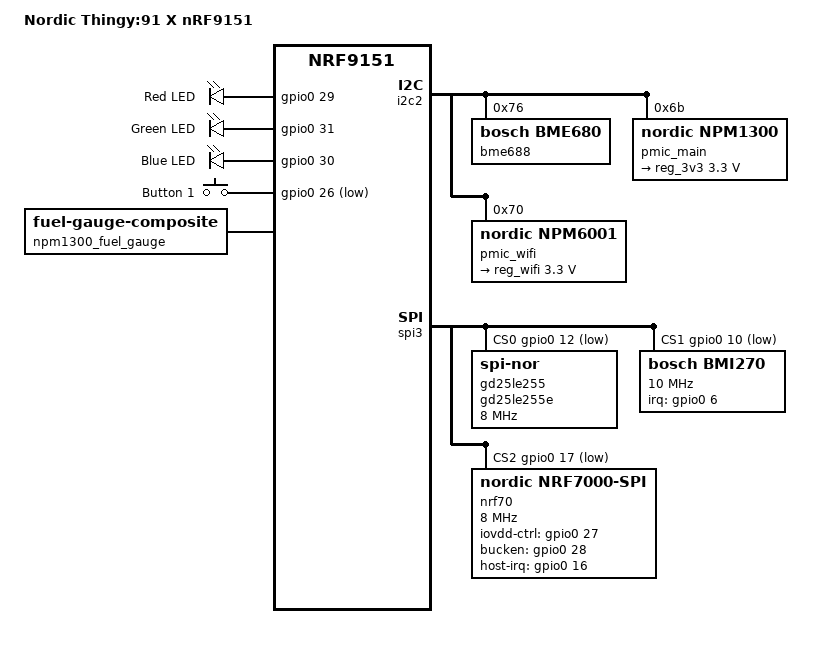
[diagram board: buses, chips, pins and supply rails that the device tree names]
/*
 * Copyright (c) 2025 Embeint Holdings Pty Ltd
 *
 * SPDX-License-Identifier: Apache-2.0
 */

#include "thingy91x_nrf9151_common-pinctrl.dtsi"
#include <zephyr/dt-bindings/battery/battery.h>
#include <zephyr/dt-bindings/input/input-event-codes.h>
#include <dt-bindings/regulator/npm1300.h>
#include <dt-bindings/regulator/npm6001.h>

/ {
	model = "Nordic Thingy:91 X nRF9151";
	compatible = "nordic,thingy91x-nrf9151";

	chosen {
		zephyr,console = &rtt0;
		zephyr,bt-hci = &hci_spi;
		zephyr,wifi = &nrf70;
	};

	rtt0: rtt_chan0 {
		compatible = "segger,rtt-uart";
		status = "okay";
	};

	leds {
		compatible = "gpio-leds";
		led0: led_0 {
			gpios = <&gpio0 29 GPIO_ACTIVE_HIGH>;
			label = "Red LED";
		};
		led1: led_1 {
			gpios = <&gpio0 31 GPIO_ACTIVE_HIGH>;
			label = "Green LED";
		};
		led2: led_2 {
			gpios = <&gpio0 30 GPIO_ACTIVE_HIGH>;
			label = "Blue LED";
		};
	};

	buttons {
		compatible = "gpio-keys";

		button0: button_0 {
			gpios = <&gpio0 26 (GPIO_PULL_UP | GPIO_ACTIVE_LOW)>;
			label = "Button 1";
		};
	};

	npm1300_fuel_gauge: fuel_gauge {
		compatible = "zephyr,fuel-gauge-composite";
		source-primary = <&npm1300_charger>;
		device-chemistry = "lithium-ion-polymer";
		ocv-capacity-table-0 = <BATTERY_OCV_CURVE_LITHIUM_ION_POLYMER_DEFAULT>;
		charge-full-design-microamp-hours = <450000>;
		fuel-gauge-channels;
	};

	aliases {
		sw0 = &button0;
		led0 = &led0;
		led1 = &led1;
		led2 = &led2;
		fuel-gauge0 = &npm1300_fuel_gauge;
		imu0 = &bmi270;
		watchdog0 = &wdt0;
		environmental0 = &bme688;
	};
};

&gpiote {
	status = "okay";
};

&gpio0 {
	status = "okay";
};

&i2c2 {
	compatible = "nordic,nrf-twim";
	status = "okay";
	pinctrl-0 = <&i2c2_default>;
	pinctrl-1 = <&i2c2_sleep>;
	pinctrl-names = "default", "sleep";


	bme688: bme688@76 {
		compatible = "bosch,bme680";
		reg = <0x76>;
	};

	pmic_main: npm1300@6b {
		compatible = "nordic,npm1300";
		status = "okay";
		pmic-int-pin = <3>;
		reg = <0x6b>;

		gpios_pmic: npm1300_gpios {
			compatible = "nordic,npm1300-gpio";
			status = "okay";
			gpio-controller;
			#gpio-cells = <2>;
			ngpios = <5>;

			/* GPIO1 switches power to the short range RF front end */
			ldsw_rf_fe_sr_en: GPIO1 {
				gpios = <1 (GPIO_ACTIVE_LOW | GPIO_OPEN_DRAIN | GPIO_PULL_UP)>;
				/* Enable Bluetooth & Wi-Fi RF front end by default */
				gpio-hog;
				output-high;
			};
		};

		regulators {
			compatible = "nordic,npm1300-regulator";
			status = "okay";

			/* Main 3.3 V regulator, enabled at boot by default, but also disabled if
			 * GPIO2 goes low, which is controlled by the main power switch.
			 */
			reg_3v3: BUCK2 {
				regulator-min-microvolt = <3300000>;
				regulator-max-microvolt = <3300000>;
				enable-gpio-config = <2 GPIO_ACTIVE_HIGH>;
			};
			/* LDO1 is used as a load switch pulling the nPM6001 enable line to VSYS */
			ldsw_nPM6001_en: LDO1 {
				regulator-initial-mode = <NPM1300_LDSW_MODE_LDSW>;
				regulator-allowed-modes = <NPM1300_LDSW_MODE_LDSW>;
				regulator-boot-on;
			};
			/* LDO2 is used as a load switch for sensor power supply */
			ldsw_sensors: LDO2 {
				regulator-initial-mode = <NPM1300_LDSW_MODE_LDSW>;
				regulator-allowed-modes = <NPM1300_LDSW_MODE_LDSW>;
				regulator-boot-on;
			};
		};

		npm1300_charger: charger {
			compatible = "nordic,npm1300-charger";
			status = "okay";
			vbus-limit-microamp = <500000>;
			/* Battery specs from LiPol LP803448 datasheet (Dwg. nr. FD_3245_70) */
			term-microvolt = <4200000>;
			current-microamp = <675000>; /* 0.5C charging current */
			dischg-limit-microamp = <1000000>; /* Maximum value for PMIC */
			thermistor-cold-millidegrees = <0>;
			thermistor-cool-millidegrees = <0>;
			thermistor-warm-millidegrees = <45000>;
			thermistor-hot-millidegrees = <45000>;
			thermistor-ohms = <10000>;
			thermistor-beta = <3435>;
			charging-enable;
		};
	};

	pmic_wifi: npm6001@70 {
		compatible = "nordic,npm6001";
		status = "okay";
		reg = <0x70>;

		regulators {
			compatible = "nordic,npm6001-regulator";
			status = "okay";
			pmic_wifi_buck0: BUCK0 {
				regulator-boot-off;
			};
			pmic_wifi_buck1: BUCK1 {
				regulator-boot-off;
			};
			pmic_wifi_buck2: BUCK2 {
				regulator-boot-off;
			};
			/* Dedicated 3.3 V regulator for nRF70 */
			reg_wifi: BUCK3 {
				regulator-min-microvolt = <3300000>;
				regulator-max-microvolt = <3300000>;
				regulator-initial-mode = <NPM6001_MODE_HYS>;
				regulator-boot-off;
			};
		};
	};

	/* No Infuse-IoT driver support, powers up into low power by default */
	accel: accelerometer_lp: adxl367@1d {
		compatible = "adi,adxl367";
		status = "disabled";
		reg = <0x1d>;
	};

	/* TODO: No Infuse-IoT driver support (Zephyr v4.2).
	 * Zephyr v4.2 has a driver.
	 * Device is not low power by default.
	 */
	magnetometer: bmm350@14 {
		compatible = "bosch,bmm350";
		status = "disabled";
		reg = <0x14>;
	};
};

&spi3 {
	compatible = "nordic,nrf-spim";
	status = "okay";
	cs-gpios = <&gpio0 12 (GPIO_ACTIVE_LOW)>,
		   <&gpio0 10 (GPIO_ACTIVE_LOW)>,
		   <&gpio0 17 (GPIO_ACTIVE_LOW)>,
		   <&gpio0 0 (GPIO_ACTIVE_LOW)>;
	pinctrl-0 = <&spi3_default>;
	pinctrl-1 = <&spi3_sleep>;
	pinctrl-names = "default", "sleep";

	gd25le255: gd25le255e@0 {
		compatible = "jedec,spi-nor";
		status = "okay";
		reg = <0>;
		spi-max-frequency = <8000000>;
		size = <268435456>;
		has-dpd;
		t-enter-dpd = <3000>;
		t-exit-dpd = <20000>;
		sfdp-bfp = [e5 20 f3 ff  ff ff ff 0f  44 eb 08 6b  08 3b 42 bb
			    fe ff ff ff  ff ff 00 ff  ff ff 42 eb  0c 20 0f 52
			    10 d8 00 ff  d4 31 a5 fe  84 df 14 4f  ec 62 16 33
			    7a 75 7a 75  04 b3 d5 5c  19 06 14 00  08 50 00 01];
		jedec-id = [c8 60 19];
	};

	bmi270: bmi270@1 {
		compatible = "bosch,bmi270";
		status = "okay";
		reg = <1>;
		spi-max-frequency = <DT_FREQ_M(10)>;
		irq-gpios = <&gpio0 6 (GPIO_ACTIVE_HIGH)>;
	};

	nrf70: wifi@2 {
		/* nRF7002 is loaded, but the nRF9151 only has RAM to run in SSID scanning mode */
		compatible = "nordic,nrf7000-spi";
		status = "okay";
		reg = <2>;
		spi-max-frequency = <DT_FREQ_M(8)>;

		iovdd-ctrl-gpios = <&gpio0 27 (GPIO_ACTIVE_HIGH | GPIO_PULL_DOWN)>;
		bucken-gpios = <&gpio0 28 (GPIO_ACTIVE_HIGH | GPIO_PULL_DOWN)>;
		host-irq-gpios = <&gpio0 16 GPIO_ACTIVE_HIGH>;

		nordic_wlan0: wlan0 {
			compatible = "nordic,wlan";
		};

		wifi-max-tx-pwr-2g-dsss = <21>;
		wifi-max-tx-pwr-2g-mcs0 = <16>;
		wifi-max-tx-pwr-2g-mcs7 = <16>;
		wifi-max-tx-pwr-5g-low-mcs0 = <9>;
		wifi-max-tx-pwr-5g-low-mcs7 = <9>;
		wifi-max-tx-pwr-5g-mid-mcs0 = <11>;
		wifi-max-tx-pwr-5g-mid-mcs7 = <11>;
		wifi-max-tx-pwr-5g-high-mcs0 = <13>;
		wifi-max-tx-pwr-5g-high-mcs7 = <13>;
	};

	/* Nordic nRF5340 */
	hci_spi: bt-hci@3 {
		compatible = "zephyr,bt-hci-spi";
		reg = <3>;
		spi-max-frequency = <8000000>;
		reset-gpios = <&gpio0 20 (GPIO_ACTIVE_LOW)>;
		irq-gpios = <&gpio0 1 (GPIO_ACTIVE_HIGH | GPIO_PULL_DOWN)>;
		reset-assert-duration-ms = <1>;
		/* Additional GPIO is available here:
		 * extra-gpios = <&gpio0 9 0>;
		 */
	};
};

/* Include default memory partition configuration file */
#include <common/nordic/nrf91xx_partition.dtsi>
